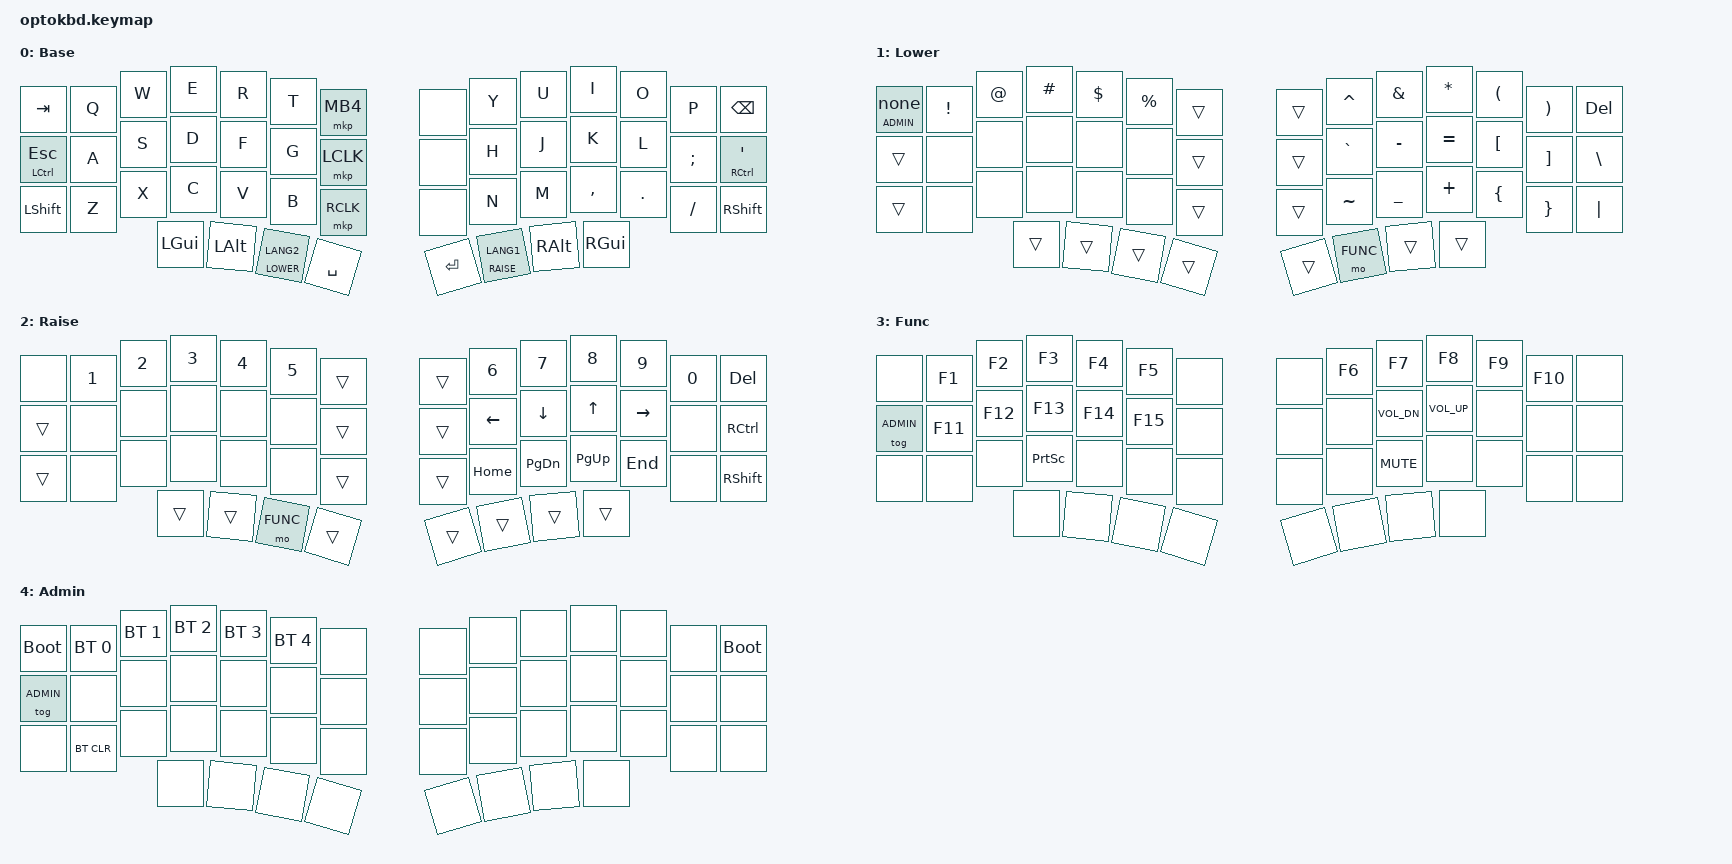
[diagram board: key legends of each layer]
/*
 * Ported from the QMK keymap of bias (keyboards/bias/keymaps/default/keymap.c).
 *
 * bias has 6 columns per half; optokbd has one more, the innermost column
 * (left C6 / right C6). The bias keys sit on the outer 6 columns. The left
 * inner column has mouse buttons (from the top: back (MB4), left click, right
 * click), and the right inner column is left unassigned (&none on BASE). The
 * 4 thumb keys per half map one to one.
 */

#include <behaviors.dtsi>
#include <dt-bindings/zmk/bt.h>
#include <dt-bindings/zmk/keys.h>
#include <dt-bindings/zmk/pointing.h>

#define BASE  0
#define LOWER 1
#define RAISE 2
#define FUNC  3
#define ADMIN 4

#define LCTL_ESC   &mt LCTRL ESC
#define RCTL_QUOT  &mt RCTRL SQT
#define LOWER_LNG2 &lt_lang LOWER LANG2
#define RAISE_LNG1 &lt_lang RAISE LANG1
#define ADMIN_HOLD &hold_tog ADMIN 0

/*
 * LCTL_T(KC_ESC) / RCTL_T(KC_QUOT), with a tapping term of 150 ms (bias used
 * 120). Unlike QMK's default decision mode, pressing another key while it is
 * held decides "hold" right away, however short the press (like QMK's
 * HOLD_ON_OTHER_KEY_PRESS): hold-preferred in ZMK.
 */
&mt {
    flavor = "hold-preferred";
    tapping-term-ms = <150>;
};

/ {
    behaviors {
        /*
         * MO(_LOWER) / MO(_RAISE) of bias: momentary layer that also taps a
         * key (LANG2 / LANG1) on release if no other key was pressed while it
         * was held, however long it was held. hold-preferred makes any other
         * key press decide "hold", and retro-tap makes a release with no other
         * key press "tap" even after the tapping term.
         */
        lt_lang: layer_tap_lang {
            compatible = "zmk,behavior-hold-tap";
            #binding-cells = <2>;
            flavor = "hold-preferred";
            tapping-term-ms = <200>;
            retro-tap;
            bindings = <&mo>, <&kp>;
        };

        /*
         * Toggles a layer only when held for 1 s; a shorter press does nothing.
         * tap-preferred decides "hold" only when the tapping term expires, so
         * pressing other keys meanwhile does not shorten it.
         */
        hold_tog: hold_toggle_layer {
            compatible = "zmk,behavior-hold-tap";
            #binding-cells = <2>;
            flavor = "tap-preferred";
            tapping-term-ms = <1000>;
            bindings = <&tog>, <&none>;
        };
    };

    keymap {
        compatible = "zmk,keymap";

        base_layer {
            display-name = "Base";
            bindings = <
            //----------------------------------------------------------------------------------------| |----------------------------------------------------------------------------------------
              &kp TAB      &kp Q        &kp W        &kp E        &kp R        &kp T        &mkp MB4       &none        &kp Y        &kp U        &kp I        &kp O        &kp P        &kp BSPC
            //----------------------------------------------------------------------------------------| |----------------------------------------------------------------------------------------
              LCTL_ESC     &kp A        &kp S        &kp D        &kp F        &kp G        &mkp LCLK      &none        &kp H        &kp J        &kp K        &kp L        &kp SEMI     RCTL_QUOT
            //----------------------------------------------------------------------------------------| |----------------------------------------------------------------------------------------
              &kp LSHFT    &kp Z        &kp X        &kp C        &kp V        &kp B        &mkp RCLK      &none        &kp N        &kp M        &kp COMMA    &kp DOT      &kp FSLH     &kp RSHFT
            //----------------------------------------------------------------------------------------| |----------------------------------------------------------------------------------------
                                                     &kp LGUI     &kp LALT     LOWER_LNG2   &kp SPACE      &kp RET      RAISE_LNG1   &kp RALT     &kp RGUI
            //----------------------------------------------------------------------------------------| |----------------------------------------------------------------------------------------
            >;
        };

        lower_layer {
            display-name = "Lower";
            bindings = <
            //----------------------------------------------------------------------------------------| |----------------------------------------------------------------------------------------
              ADMIN_HOLD   &kp EXCL     &kp AT       &kp HASH     &kp DLLR     &kp PRCNT    &trans         &trans       &kp CARET    &kp AMPS     &kp STAR     &kp LPAR     &kp RPAR     &kp DEL
            //----------------------------------------------------------------------------------------| |----------------------------------------------------------------------------------------
              &trans       &none        &none        &none        &none        &none        &trans         &trans       &kp GRAVE    &kp MINUS    &kp EQUAL    &kp LBKT     &kp RBKT     &kp BSLH
            //----------------------------------------------------------------------------------------| |----------------------------------------------------------------------------------------
              &trans       &none        &none        &none        &none        &none        &trans         &trans       &kp TILDE    &kp UNDER    &kp PLUS     &kp LBRC     &kp RBRC     &kp PIPE
            //----------------------------------------------------------------------------------------| |----------------------------------------------------------------------------------------
                                                     &trans       &trans       &trans       &trans         &trans       &mo FUNC     &trans       &trans
            //----------------------------------------------------------------------------------------| |----------------------------------------------------------------------------------------
            >;
        };

        raise_layer {
            display-name = "Raise";
            bindings = <
            //----------------------------------------------------------------------------------------| |----------------------------------------------------------------------------------------
              &none        &kp N1       &kp N2       &kp N3       &kp N4       &kp N5       &trans         &trans       &kp N6       &kp N7       &kp N8       &kp N9       &kp N0       &kp DEL
            //----------------------------------------------------------------------------------------| |----------------------------------------------------------------------------------------
              &trans       &none        &none        &none        &none        &none        &trans         &trans       &kp LEFT     &kp DOWN     &kp UP       &kp RIGHT    &none        &kp RCTRL
            //----------------------------------------------------------------------------------------| |----------------------------------------------------------------------------------------
              &trans       &none        &none        &none        &none        &none        &trans         &trans       &kp HOME     &kp PG_DN    &kp PG_UP    &kp END      &none        &kp RSHFT
            //----------------------------------------------------------------------------------------| |----------------------------------------------------------------------------------------
                                                     &trans       &trans       &mo FUNC     &trans         &trans       &trans       &trans       &trans
            //----------------------------------------------------------------------------------------| |----------------------------------------------------------------------------------------
            >;
        };

        func_layer {
            display-name = "Func";
            bindings = <
            //----------------------------------------------------------------------------------------| |----------------------------------------------------------------------------------------
              &none        &kp F1       &kp F2       &kp F3       &kp F4       &kp F5       &none          &none        &kp F6       &kp F7       &kp F8       &kp F9       &kp F10      &none
            //----------------------------------------------------------------------------------------| |----------------------------------------------------------------------------------------
              &tog ADMIN   &kp F11      &kp F12      &kp F13      &kp F14      &kp F15      &none          &none        &none        &kp C_VOL_DN &kp C_VOL_UP &none        &none        &none
            //----------------------------------------------------------------------------------------| |----------------------------------------------------------------------------------------
              &none        &none        &none        &kp PSCRN    &none        &none        &none          &none        &none        &kp K_MUTE   &none        &none        &none        &none
            //----------------------------------------------------------------------------------------| |----------------------------------------------------------------------------------------
                                                     &none        &none        &none        &none          &none        &none        &none        &none
            //----------------------------------------------------------------------------------------| |----------------------------------------------------------------------------------------
            >;
        };

        /*
         * Besides bias's QK_BOOT and TG(_ADMIN), this layer has keys that a
         * wireless split keyboard needs: &bootloader for the right half too
         * (it acts only on the half whose key is pressed), BLE profile
         * selection (BT_SEL 0-4), and clearing the current profile's pairing
         * (BT_CLR).
         */
        admin_layer {
            display-name = "Admin";
            bindings = <
            //----------------------------------------------------------------------------------------| |----------------------------------------------------------------------------------------
              &bootloader  &bt BT_SEL 0 &bt BT_SEL 1 &bt BT_SEL 2 &bt BT_SEL 3 &bt BT_SEL 4 &none          &none        &none        &none        &none        &none        &none        &bootloader
            //----------------------------------------------------------------------------------------| |----------------------------------------------------------------------------------------
              &tog ADMIN   &none        &none        &none        &none        &none        &none          &none        &none        &none        &none        &none        &none        &none
            //----------------------------------------------------------------------------------------| |----------------------------------------------------------------------------------------
              &none        &bt BT_CLR   &none        &none        &none        &none        &none          &none        &none        &none        &none        &none        &none        &none
            //----------------------------------------------------------------------------------------| |----------------------------------------------------------------------------------------
                                                     &none        &none        &none        &none          &none        &none        &none        &none
            //----------------------------------------------------------------------------------------| |----------------------------------------------------------------------------------------
            >;
        };
    };
};
